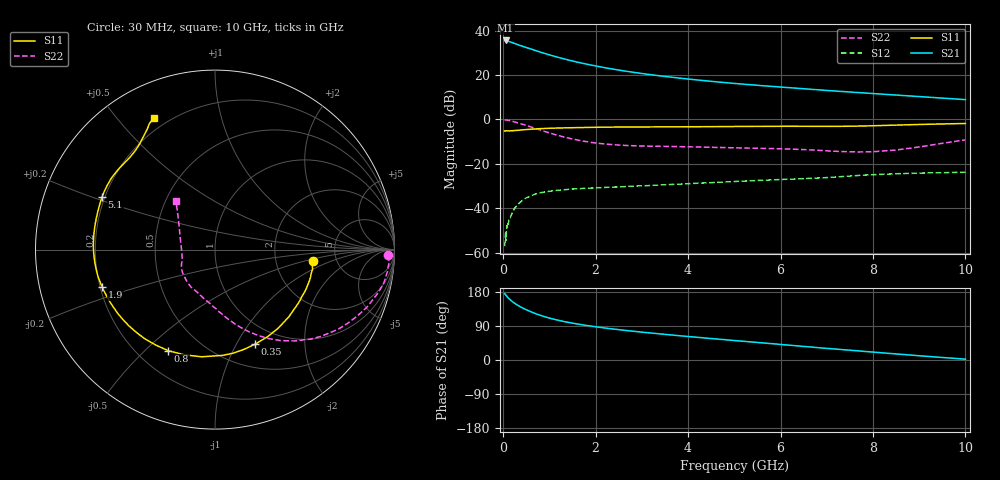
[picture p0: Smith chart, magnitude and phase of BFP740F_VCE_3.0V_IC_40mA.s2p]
! Infineon Technologies  Discrete & RF Semiconductors
! BFP740F
! VCE =  3.0 V,  IC =  40 mA
! Common Emitter S-Parameters:  Oct 2012
# GHz  S  MA  R  50
!  f  S11  S21  S12  S22
! GHz  MAG  ANG  MAG  ANG  MAG  ANG  MAG  ANG
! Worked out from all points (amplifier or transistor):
!   99 points, 30 MHz to 10 GHz, reference 50 ohm
!   highest |S21| = 35.6 dB at 50 MHz (marker M1)
!   |S21| within 3 dB of that: start of sweep to 472.4 MHz
!   unconditionally stable (mu >= 1): 4.793 GHz to end of sweep
!   at 350 MHz: K = 0.21, MSG = 35.5 dB, |S12| = -37.6 dB
!   at 3.5 GHz: K = 0.85, MSG = 24.4 dB, |S12| = -29.4 dB
!   at 10 GHz: K = 1.15, MAG = 14.0 dB, |S12| = -23.8 dB
!   S11 on the Smith chart (normalised r, x): 30 MHz: 3.30, -0.62; 350 MHz: 0.76, -1.20; 800 MHz: 0.32, -0.59; 1.9 GHz: 0.21, -0.15; 5.1 GHz: 0.19, +0.21; 10 GHz: 0.15, +0.63
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0.03  0.5479 -6.9  59.24 175.4  0.0014 87.9  0.9662 -1.8
0.05  0.555 -11.4  59.98 172.6  0.0028 83.8  0.9726 -4.5
0.07  0.554 -16.0  59.82 169.5  0.0031 86.9  0.9699 -7.0
0.11  0.5526 -24.8  57.64 163.8  0.0044 84.2  0.9563 -11.8
0.15  0.552 -33.0  55.79 159.0  0.0061 78.1  0.9331 -15.9
0.2  0.5565 -42.5  53.36 153.8  0.0081 74.9  0.9055 -20.7
0.25  0.5618 -51.2  51.22 149.4  0.0101 72.1  0.8757 -24.9
0.35  0.5725 -67.1  46.71 141.8  0.0132 65.0  0.818 -32.8
0.45  0.5862 -80.3  43.23 135.4  0.016 59.0  0.7608 -39.6
0.6  0.602 -97.2  38.47 127.2  0.019 52.3  0.6752 -48.9
0.8  0.6202 -114.8  32.87 118.0  0.0222 45.7  0.5781 -59.0
1  0.6323 -128.2  28.41 110.6  0.0241 40.8  0.4968 -67.4
1.2  0.6409 -138.6  24.8 104.6  0.0255 37.7  0.4325 -74.6
1.4  0.6481 -146.8  21.89 99.5  0.0265 35.3  0.3831 -80.8
1.7  0.6562 -156.5  18.53 93.1  0.0278 33.2  0.3283 -89.3
1.9  0.6623 -161.7  16.78 89.5  0.0285 32.6  0.3035 -94.7
2.6  0.6742 -175.2  12.43 78.7  0.0306 31.8  0.2614 -110.4
3.4  0.6797 173.7  9.559 68.8  0.0334 32.4  0.2484 -121.6
5.1  0.6943 155.0  6.337 50.4  0.0404 33.7  0.2284 -137.9
6.7  0.6991 139.1  4.734 33.8  0.0474 33.8  0.2046 -155.9
8.5  0.7448 122.4  3.537 16.0  0.0598 29.1  0.2045 161.3
10  0.8096 115.0  2.79 2.2  0.0646 22.8  0.3469 128.8
